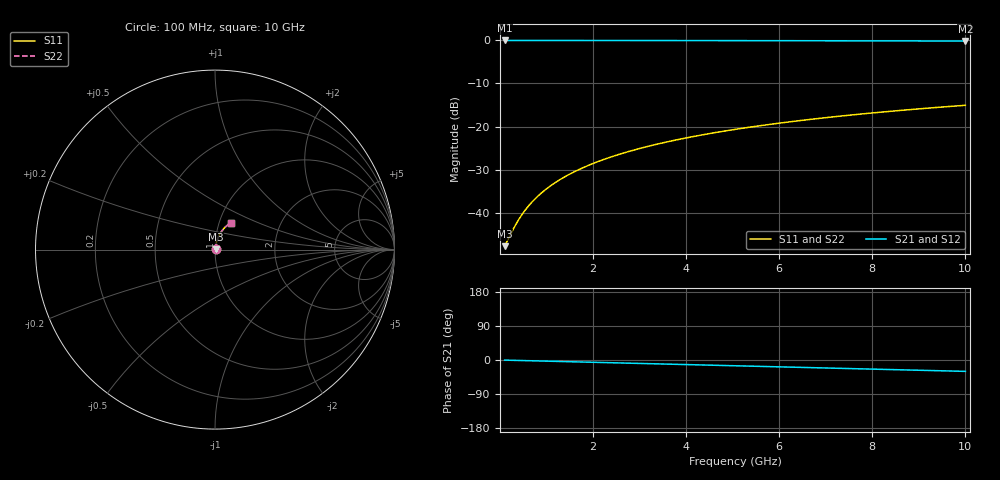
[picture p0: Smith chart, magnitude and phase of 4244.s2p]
# Hz S RI R 50.00
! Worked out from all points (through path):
!   100 points, 100 MHz to 10 GHz, reference 50 ohm
!   highest |S21| = -0.03 dB at 100 MHz (marker M1); lowest = -0.2 dB at 10 GHz (marker M2)
!   group delay of S21, straight-line fit = 8.34 ps
!   lowest |S11| = -47.7 dB at 100 MHz (marker M3), VSWR 1.01, Z = 50.4 + j0.185 ohm
!   |S11| at or under -10 dB: start of sweep to end of sweep
!   |S22| runs from -47.7 to -15.1 dB; largest |S21 - S12| = 0
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1e8  0.00367 0.00184  0.9963 -0.00525  0.9963 -0.00525  0.00367 0.00184
3e8  0.00378 0.00552  0.9962 -0.0157  0.9962 -0.0157  0.00378 0.00552
4e8  0.00386 0.00736  0.996 -0.021  0.996 -0.021  0.00386 0.00736
5e8  0.00396 0.0092  0.9959 -0.0262  0.9959 -0.0262  0.00396 0.0092
6e8  0.00408 0.011  0.9957 -0.0315  0.9957 -0.0315  0.00408 0.011
7e8  0.00421 0.0129  0.9955 -0.0367  0.9955 -0.0367  0.00421 0.0129
8e8  0.00437 0.0147  0.9952 -0.042  0.9952 -0.042  0.00437 0.0147
1e9  0.00473 0.0184  0.9947 -0.0524  0.9947 -0.0524  0.00473 0.0184
1.2e9  0.00517 0.022  0.994 -0.0629  0.994 -0.0629  0.00517 0.022
1.5e9  0.00597 0.0275  0.9927 -0.0786  0.9927 -0.0786  0.00597 0.0275
1.8e9  0.00694 0.0329  0.9911 -0.0942  0.9911 -0.0942  0.00694 0.0329
2.1e9  0.00807 0.0383  0.9893 -0.1099  0.9893 -0.1099  0.00807 0.0383
2.5e9  0.00985 0.0454  0.9864 -0.1306  0.9864 -0.1306  0.00985 0.0454
2.9e9  0.0119 0.0525  0.9831 -0.1513  0.9831 -0.1513  0.0119 0.0525
3.4e9  0.0149 0.0611  0.9782 -0.177  0.9782 -0.177  0.0149 0.0611
4.2e9  0.0207 0.0746  0.9689 -0.2177  0.9689 -0.2177  0.0207 0.0746
5.1e9  0.0285 0.0891  0.9561 -0.2629  0.9561 -0.2629  0.0285 0.0891
5.9e9  0.0365 0.1014  0.9429 -0.3023  0.9429 -0.3023  0.0365 0.1014
6.7e9  0.0455 0.1128  0.9279 -0.3409  0.9279 -0.3409  0.0455 0.1128
7.5e9  0.0554 0.1235  0.9112 -0.3787  0.9112 -0.3787  0.0554 0.1235
8.4e9  0.0676 0.1344  0.8904 -0.42  0.8904 -0.42  0.0676 0.1344
1e10  0.0914 0.1509  0.8488 -0.4903  0.8488 -0.4903  0.0914 0.1509
